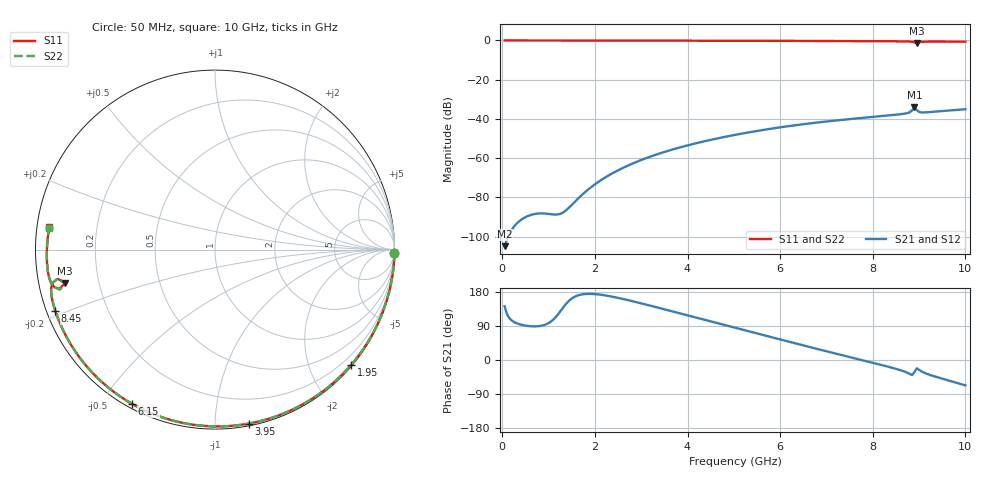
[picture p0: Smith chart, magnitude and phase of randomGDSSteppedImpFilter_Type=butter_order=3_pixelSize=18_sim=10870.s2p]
! freq	dB(S11)	phase(S11)	dB(S12)	phase(S12)
!  dB(S21)	phase(S21)	dB(S22)	phase(S22)
!S-par simulation data
#  GHz  S  DB  R 50
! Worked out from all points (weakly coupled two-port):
!   200 points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, 50 MHz to 10 GHz, reference 50 ohm
!   highest |S21| = -34.04 dB at 8.9 GHz (marker M1); lowest = -104.9 dB at 50 MHz (marker M2)
!   lowest |S11| = -1.3 dB at 8.95 GHz (marker M3), VSWR 13.00, Z = 3.89 - j5.5 ohm
!   |S11| at or under -10 dB: nowhere
!   |S22| runs from -1.4 to 0.0 dB; largest |S21 - S12| = 0
!   S11 on the Smith chart (normalised r, x): 50 MHz: open; 1.95 GHz: 0.02, -2.73; 3.95 GHz: 0.02, -1.22; 6.15 GHz: 0.02, -0.60; 8.45 GHz: 0.02, -0.18; 10 GHz: 0.04, +0.07
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0.05  -0.00 -1.1  -104.87 142.0  -104.87 142.0  -0.00 -1.1
0.8  -0.02 -16.8  -88.19 89.5  -88.19 89.5  -0.02 -16.7
1.65  -0.04 -34.2  -80.28 171.1  -80.28 171.1  -0.04 -34.2
1.75  -0.05 -36.2  -78.08 173.6  -78.08 173.6  -0.05 -36.2
1.95  -0.05 -40.2  -74.20 174.3  -74.20 174.3  -0.05 -40.2
2.25  -0.06 -46.2  -69.44 169.9  -69.44 169.9  -0.06 -46.2
2.6  -0.07 -53.1  -65.02 161.2  -65.02 161.2  -0.07 -53.1
3  -0.08 -60.9  -60.94 149.5  -60.94 149.5  -0.08 -60.9
3.4  -0.09 -68.6  -57.59 137.0  -57.59 137.0  -0.09 -68.5
3.95  -0.11 -78.9  -53.80 119.5  -53.80 119.5  -0.11 -78.8
5.05  -0.15 -98.9  -48.02 84.4  -48.02 84.4  -0.15 -98.8
6.15  -0.21 -118.2  -43.79 49.5  -43.79 49.5  -0.21 -118.2
6.7  -0.25 -127.8  -42.12 32.2  -42.12 32.2  -0.25 -127.7
7.55  -0.32 -142.6  -39.98 6.2  -39.98 6.2  -0.32 -142.6
8.35  -0.40 -157.1  -38.22 -18.3  -38.22 -18.3  -0.40 -157.1
8.45  -0.42 -159.0  -37.99 -21.6  -37.99 -21.6  -0.42 -159.0
8.8  -0.56 -166.8  -36.58 -36.9  -36.58 -36.9  -0.57 -166.9
8.9  -0.99 -169.6  -34.04 -31.7  -34.04 -31.7  -1.04 -169.7
8.95  -1.34 -167.4  -35.52 -21.9  -35.52 -21.9  -1.39 -167.2
9  -0.97 -165.8  -36.47 -26.0  -36.47 -26.0  -0.98 -165.5
9.2  -0.56 -171.0  -36.56 -37.9  -36.56 -37.9  -0.56 -170.9
10  -0.62 172.4  -35.06 -67.0  -35.06 -67.0  -0.62 172.5
